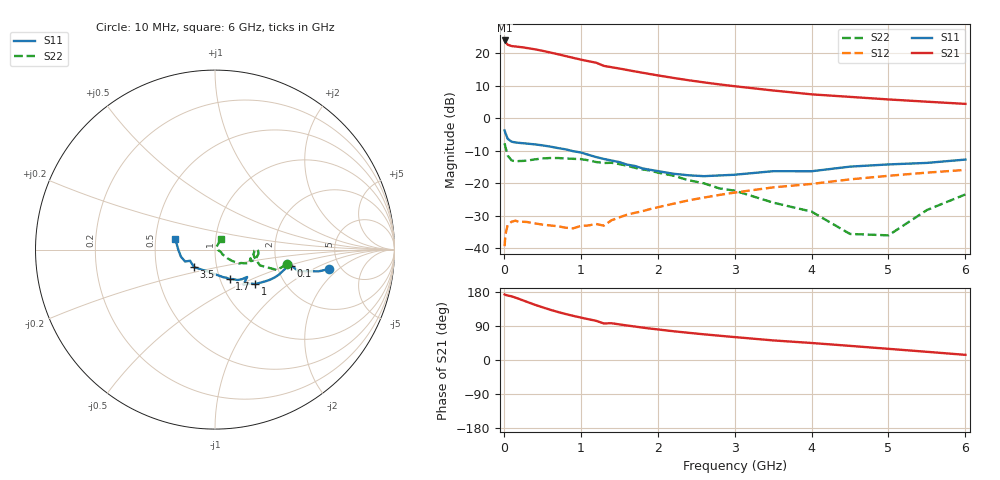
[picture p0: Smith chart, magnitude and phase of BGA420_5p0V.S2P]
! Infineon Technologies  Discrete & RF Semiconductors
! BGA420
! Si NPN RF SIEGET Grounded Emitter Transistor in SOT343
! VCE =  IC =
! Common Emitter S-Parameters:  November  1999
# GHz  S  MA  R  50
!  f  S11  S21  S12  S22
! GHz  MAG  ANG  MAG  ANG  MAG  ANG  MAG  ANG
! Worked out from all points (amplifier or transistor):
!   36 points, 10 MHz to 6 GHz, reference 50 ohm
!   highest |S21| = 23.9 dB at 10 MHz (marker M1)
!   |S21| within 3 dB of that: start of sweep to 462.4 MHz
!   unconditionally stable (mu >= 1): start of sweep to end of sweep
!   at 250 MHz: K = 1.52, MAG = 22.6 dB, |S12| = -31.9 dB
!   at 1.4 GHz: K = 2.92, MAG = 16.0 dB, |S12| = -31.4 dB
!   at 6 GHz: K = 1.93, MAG = 4.6 dB, |S12| = -15.9 dB
!   S11 on the Smith chart (normalised r, x): 10 MHz: 4.06, -1.50; 100 MHz: 2.39, -0.52; 1 GHz: 1.43, -0.60; 1.7 GHz: 1.11, -0.38; 3.5 GHz: 0.78, -0.16; 6 GHz: 0.63, +0.08
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0.01  0.646 -9.6  15.64 173.1  0.0107 45.6  0.41 -11.3
0.02  0.5915 -11.8  14.75 171.9  0.0159 38.7  0.3631 -18.2
0.05  0.4801 -14.5  13.45 170.1  0.0229 22.7  0.2654 -19.4
0.1  0.4334 -11.8  12.83 168.1  0.0254 12.1  0.2239 -11.1
0.2  0.4156 -12.7  12.45 161.1  0.0252 8.1  0.2186 -4.2
0.3  0.4049 -15.4  11.97 153.5  0.0252 5.1  0.2217 -1.3
0.4  0.3943 -18.0  11.45 146.0  0.024 6.0  0.2309 0.4
0.5  0.3811 -21.8  10.85 139.3  0.023 7.7  0.2397 -1.5
0.7  0.3464 -29.3  9.622 126.9  0.0217 16.2  0.2431 -5.6
1  0.2957 -40.3  7.945 112.0  0.0219 32.4  0.234 -12.9
1.1  0.2722 -44.2  7.505 107.6  0.0223 37.5  0.224 -15.5
1.2  0.2514 -50.9  7.114 103.4  0.0235 41.5  0.2108 -17.8
1.3  0.2352 -40.4  6.357 96.4  0.0221 49.1  0.2036 -13.7
1.4  0.2224 -48.0  6.065 97.1  0.0268 52.6  0.2052 -20.8
1.7  0.184 -63.6  5.237 88.4  0.0348 58.3  0.1722 -26.0
2.2  0.1394 -87.9  4.157 76.0  0.048 60.9  0.1303 -31.8
2.8  0.131 -117.8  3.302 64.1  0.0657 57.9  0.083 -34.9
3.5  0.1524 -140.1  2.658 51.7  0.0859 51.8  0.0501 -32.6
4.5  0.1791 -158.3  2.12 37.3  0.1141 42.8  0.0165 -4.8
5  0.1937 -168.0  1.936 29.5  0.1294 36.9  0.0157 61.6
5.5  0.2044 -179.6  1.787 21.6  0.1448 30.4  0.0385 60.6
6  0.23 164.5  1.654 13.6  0.1596 23.5  0.0669 62.0
